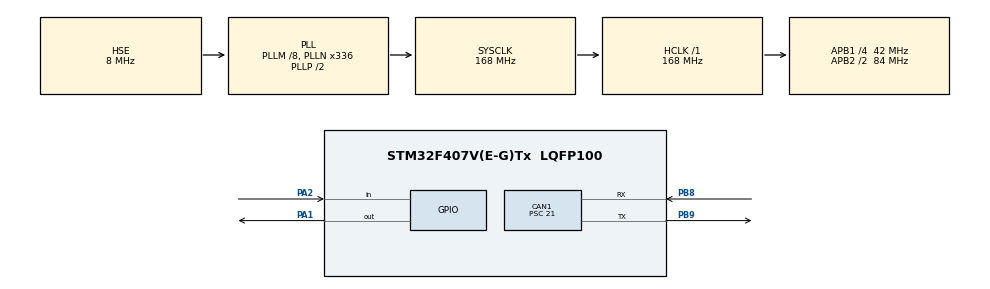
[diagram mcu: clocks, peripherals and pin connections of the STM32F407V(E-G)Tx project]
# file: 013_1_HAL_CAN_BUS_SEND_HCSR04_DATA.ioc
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CAN1.BS1=CAN_BS1_10TQ
CAN1.BS2=CAN_BS2_5TQ
CAN1.CalculateBaudRate=125000
CAN1.CalculateTimeBit=8000
CAN1.CalculateTimeQuantum=500.0
CAN1.Prescaler=21
Mcu.Family=STM32F4
Mcu.Name=STM32F407V(E-G)Tx
Mcu.Package=LQFP100
NVIC.PriorityGroup=NVIC_PRIORITYGROUP_0
PA1.GPIO_Speed=GPIO_SPEED_FREQ_HIGH
PA1.PinState=GPIO_PIN_RESET
PA1.Signal=GPIO_Output
PA13.Mode=Serial_Wire
PA13.Signal=SYS_JTMS-SWDIO
PA14.Mode=Serial_Wire
PA14.Signal=SYS_JTCK-SWCLK
PA2.GPIO_PuPd=GPIO_PULLUP
PA2.Signal=GPIO_Input
PB8.Mode=CAN_Activate
PB8.Signal=CAN1_RX
PB9.Mode=CAN_Activate
PB9.Signal=CAN1_TX
PH0-OSC_IN.Mode=HSE-External-Oscillator
PH0-OSC_IN.Signal=RCC_OSC_IN
PH1-OSC_OUT.Mode=HSE-External-Oscillator
PH1-OSC_OUT.Signal=RCC_OSC_OUT
ProjectManager.HeapSize=0x200
ProjectManager.StackSize=0x400
ProjectManager.TargetToolchain=STM32CubeIDE
RCC.48MHZClocksFreq_Value=48000000
RCC.AHBFreq_Value=168000000
RCC.APB1CLKDivider=RCC_HCLK_DIV4
RCC.APB1Freq_Value=42000000
RCC.APB1TimFreq_Value=84000000
RCC.APB2CLKDivider=RCC_HCLK_DIV2
RCC.APB2Freq_Value=84000000
RCC.APB2TimFreq_Value=168000000
RCC.CortexFreq_Value=168000000
RCC.HCLKFreq_Value=168000000
RCC.HSE_VALUE=8000000
RCC.HSI_VALUE=16000000
RCC.LSE_VALUE=32768
RCC.PLLM=8
RCC.PLLN=336
RCC.PLLQ=7
RCC.PLLSourceVirtual=RCC_PLLSOURCE_HSE
RCC.SYSCLKFreq_VALUE=168000000
RCC.SYSCLKSource=RCC_SYSCLKSOURCE_PLLCLK
RCC.VCOOutputFreq_Value=336000000
board=STM32F407G-DISC1

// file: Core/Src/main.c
/* USER CODE BEGIN Header */
/**
  ******************************************************************************
  * @file           : main.c
  * @brief          : Main program body
  ******************************************************************************
  * @attention
  *
  * Copyright (c) 2024 STMicroelectronics.
  * All rights reserved.
  *
  * This software is licensed under terms that can be found in the LICENSE file
  * in the root directory of this software component.
  * If no LICENSE file comes with this software, it is provided AS-IS.
  *
  ******************************************************************************
  */
/* USER CODE END Header */
#include "main.h"

/* USER CODE BEGIN Includes */
#include "dwt_stm32_delay.h"
/* USER CODE END Includes */

CAN_HandleTypeDef hcan1;

/* USER CODE BEGIN PV */
CAN_TxHeaderTypeDef pHeader;
CAN_FilterTypeDef sFilterConfig;
uint32_t pTxMailbox;

uint32_t sensor_time;
uint32_t distance[2];
/* USER CODE END PV */

void SystemClock_Config(void);
static void MX_GPIO_Init(void);
static void MX_CAN1_Init(void);

/* USER CODE BEGIN 0 */
uint32_t Read_HCSR04()
{
	uint32_t local_time = 0;
	HAL_GPIO_WritePin(GPIOA, GPIO_PIN_1, GPIO_PIN_SET);
	DWT_Delay_us(10);
	HAL_GPIO_WritePin(GPIOA, GPIO_PIN_1, GPIO_PIN_RESET);

	while(!(HAL_GPIO_ReadPin(GPIOA, GPIO_PIN_2)));

	while((HAL_GPIO_ReadPin(GPIOA, GPIO_PIN_2)))
	{
		local_time++;
		DWT_Delay_us(1);
	}

	return local_time * 2;
}
/* USER CODE END 0 */

int main(void)
{

  /* MCU Configuration--------------------------------------------------------*/

  /* Reset of all peripherals, Initializes the Flash interface and the Systick. */
  HAL_Init();

  /* Configure the system clock */
  SystemClock_Config();

  /* Initialize all configured peripherals */
  MX_GPIO_Init();
  MX_CAN1_Init();
  /* USER CODE BEGIN 2 */
  DWT_Delay_Init();
  HAL_CAN_Start(&hcan1);

   pHeader.DLC = 1;
   pHeader.IDE = CAN_ID_EXT;
   pHeader.RTR = CAN_RTR_DATA;
   pHeader.ExtId = 0x0AF09876;

     // Set Filter Parameters
   sFilterConfig.FilterActivation = ENABLE;
   sFilterConfig.FilterBank = 0;
   sFilterConfig.FilterFIFOAssignment = CAN_FILTER_FIFO0;
   sFilterConfig.FilterIdHigh = 0x0000;
   sFilterConfig.FilterIdLow = 0x0000;
   sFilterConfig.FilterMaskIdHigh = 0x0000;
   sFilterConfig.FilterMaskIdLow = 0x0000;
   sFilterConfig.FilterMode = CAN_FILTERMODE_IDMASK;
   sFilterConfig.FilterScale = CAN_FILTERSCALE_32BIT;

   HAL_CAN_ConfigFilter(&hcan1, &sFilterConfig);

  /* USER CODE END 2 */

  /* Infinite loop */
  while (1)
  {

    /* USER CODE BEGIN 3 */
	  sensor_time = Read_HCSR04();
	  distance[0] = sensor_time * .034 /2 ;

	  HAL_CAN_AddTxMessage(&hcan1, &pHeader, (uint8_t *)distance, &pTxMailbox);

	  HAL_Delay(200);
  }
  /* USER CODE END 3 */
}

void SystemClock_Config(void)
{
  RCC_OscInitTypeDef RCC_OscInitStruct = {0};
  RCC_ClkInitTypeDef RCC_ClkInitStruct = {0};

  /** Configure the main internal regulator output voltage
  */
  __HAL_RCC_PWR_CLK_ENABLE();
  __HAL_PWR_VOLTAGESCALING_CONFIG(PWR_REGULATOR_VOLTAGE_SCALE1);

  /** Initializes the RCC Oscillators according to the specified parameters
  * in the RCC_OscInitTypeDef structure.
  */
  RCC_OscInitStruct.OscillatorType = RCC_OSCILLATORTYPE_HSE;
  RCC_OscInitStruct.HSEState = RCC_HSE_ON;
  RCC_OscInitStruct.PLL.PLLState = RCC_PLL_ON;
  RCC_OscInitStruct.PLL.PLLSource = RCC_PLLSOURCE_HSE;
  RCC_OscInitStruct.PLL.PLLM = 8;
  RCC_OscInitStruct.PLL.PLLN = 336;
  RCC_OscInitStruct.PLL.PLLP = RCC_PLLP_DIV2;
  RCC_OscInitStruct.PLL.PLLQ = 7;
  if (HAL_RCC_OscConfig(&RCC_OscInitStruct) != HAL_OK)
  {
    Error_Handler();
  }

  /** Initializes the CPU, AHB and APB buses clocks
  */
  RCC_ClkInitStruct.ClockType = RCC_CLOCKTYPE_HCLK|RCC_CLOCKTYPE_SYSCLK
                              |RCC_CLOCKTYPE_PCLK1|RCC_CLOCKTYPE_PCLK2;
  RCC_ClkInitStruct.SYSCLKSource = RCC_SYSCLKSOURCE_PLLCLK;
  RCC_ClkInitStruct.AHBCLKDivider = RCC_SYSCLK_DIV1;
  RCC_ClkInitStruct.APB1CLKDivider = RCC_HCLK_DIV4;
  RCC_ClkInitStruct.APB2CLKDivider = RCC_HCLK_DIV2;

  if (HAL_RCC_ClockConfig(&RCC_ClkInitStruct, FLASH_LATENCY_5) != HAL_OK)
  {
    Error_Handler();
  }
}

static void MX_CAN1_Init(void)
{

  hcan1.Instance = CAN1;
  hcan1.Init.Prescaler = 21;
  hcan1.Init.Mode = CAN_MODE_NORMAL;
  hcan1.Init.SyncJumpWidth = CAN_SJW_1TQ;
  hcan1.Init.TimeSeg1 = CAN_BS1_10TQ;
  hcan1.Init.TimeSeg2 = CAN_BS2_5TQ;
  hcan1.Init.TimeTriggeredMode = DISABLE;
  hcan1.Init.AutoBusOff = DISABLE;
  hcan1.Init.AutoWakeUp = DISABLE;
  hcan1.Init.AutoRetransmission = DISABLE;
  hcan1.Init.ReceiveFifoLocked = DISABLE;
  hcan1.Init.TransmitFifoPriority = DISABLE;
  if (HAL_CAN_Init(&hcan1) != HAL_OK)
  {
    Error_Handler();
  }

}

static void MX_GPIO_Init(void)
{
  GPIO_InitTypeDef GPIO_InitStruct = {0};

  /* GPIO Ports Clock Enable */
  __HAL_RCC_GPIOH_CLK_ENABLE();
  __HAL_RCC_GPIOA_CLK_ENABLE();
  __HAL_RCC_GPIOB_CLK_ENABLE();

  /*Configure GPIO pin Output Level */
  HAL_GPIO_WritePin(GPIOA, GPIO_PIN_1, GPIO_PIN_RESET);

  /*Configure GPIO pin : PA1 */
  GPIO_InitStruct.Pin = GPIO_PIN_1;
  GPIO_InitStruct.Mode = GPIO_MODE_OUTPUT_PP;
  GPIO_InitStruct.Pull = GPIO_NOPULL;
  GPIO_InitStruct.Speed = GPIO_SPEED_FREQ_HIGH;
  HAL_GPIO_Init(GPIOA, &GPIO_InitStruct);

  /*Configure GPIO pin : PA2 */
  GPIO_InitStruct.Pin = GPIO_PIN_2;
  GPIO_InitStruct.Mode = GPIO_MODE_INPUT;
  GPIO_InitStruct.Pull = GPIO_PULLUP;
  HAL_GPIO_Init(GPIOA, &GPIO_InitStruct);

}

void Error_Handler(void)
{
  __disable_irq();
  while (1)
  {
  }
}
